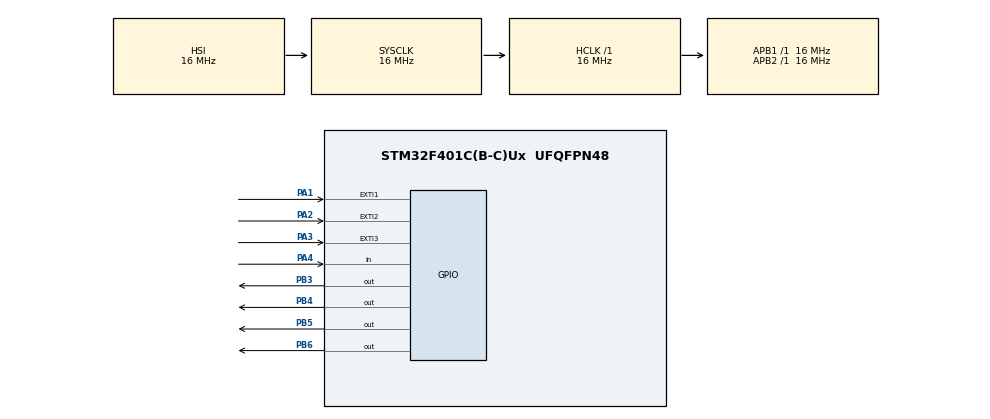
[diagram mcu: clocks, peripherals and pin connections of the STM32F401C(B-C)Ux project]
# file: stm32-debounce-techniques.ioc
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Mcu.Family=STM32F4
Mcu.Name=STM32F401C(B-C)Ux
Mcu.Package=UFQFPN48
NVIC.EXTI1_IRQn=true\:0\:0\:false\:false\:true\:true\:true\:true
NVIC.EXTI2_IRQn=true\:0\:0\:false\:false\:true\:true\:true\:true
NVIC.EXTI3_IRQn=true\:0\:0\:false\:false\:true\:true\:true\:true
NVIC.PriorityGroup=NVIC_PRIORITYGROUP_4
NVIC.TIM2_IRQn=true\:0\:0\:false\:false\:true\:true\:true\:true
PA1.GPIO_ModeDefaultEXTI=GPIO_MODE_IT_FALLING
PA1.GPIO_PuPd=GPIO_PULLDOWN
PA1.Signal=GPXTI1
PA13.Mode=Serial_Wire
PA13.Signal=SYS_JTMS-SWDIO
PA14.Mode=Serial_Wire
PA14.Signal=SYS_JTCK-SWCLK
PA2.GPIO_ModeDefaultEXTI=GPIO_MODE_IT_FALLING
PA2.GPIO_PuPd=GPIO_PULLDOWN
PA2.Signal=GPXTI2
PA3.GPIO_ModeDefaultEXTI=GPIO_MODE_IT_FALLING
PA3.GPIO_PuPd=GPIO_PULLDOWN
PA3.Signal=GPXTI3
PA4.GPIO_PuPd=GPIO_PULLDOWN
PA4.Signal=GPIO_Input
PB3.Signal=GPIO_Output
PB4.Signal=GPIO_Output
PB5.Signal=GPIO_Output
PB6.Signal=GPIO_Output
ProjectManager.HeapSize=0x200
ProjectManager.StackSize=0x400
ProjectManager.TargetToolchain=STM32CubeIDE
RCC.AHBFreq_Value=16000000
RCC.APB1Freq_Value=16000000
RCC.APB2Freq_Value=16000000
RCC.CortexFreq_Value=16000000
RCC.HSE_VALUE=25000000
RCC.HSI_VALUE=16000000
RCC.LSE_VALUE=32768
RCC.SYSCLKFreq_VALUE=16000000
RCC.VCOOutputFreq_Value=192000000
TIM2.Period=49
TIM2.Prescaler=15999
VP_TIM2_VS_ClockSourceINT.Mode=Internal
board=custom

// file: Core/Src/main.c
/* USER CODE BEGIN Header */
/**
  ******************************************************************************
  * @file           : main.c
  * @brief          : Main program body
  ******************************************************************************
  * @attention
  *
  * Copyright (c) 2026 STMicroelectronics.
  * All rights reserved.
  *
  * This software is licensed under terms that can be found in the LICENSE file
  * in the root directory of this software component.
  * If no LICENSE file comes with this software, it is provided AS-IS.
  *
  ******************************************************************************
  */
/* USER CODE END Header */
#include "main.h"
#include <stdbool.h>

TIM_HandleTypeDef htim2;

/* USER CODE BEGIN PV */

volatile bool shouldPin1Toggle = false;
volatile bool shouldPin2Toggle = false;
volatile bool shouldPin3Toggle = false;

typedef enum {
    BUTTON_RELEASED,
    BUTTON_DEBOUNCE_PRESS,
    BUTTON_PRESSED,
    BUTTON_DEBOUNCE_RELEASE
} ButtonState;

ButtonState button4State = BUTTON_RELEASED;

uint32_t button4LastPollMs = 0;
uint32_t button4DebounceStartedMs = 0;

const uint32_t BUTTON_POLL_INTERVAL_MS = 5;
const uint32_t BUTTON_DEBOUNCE_MS = 50;

/* USER CODE END PV */

void SystemClock_Config(void);
static void MX_GPIO_Init(void);
static void MX_TIM2_Init(void);

/* USER CODE BEGIN 0 */

void updateButton4State() {
	uint32_t now = HAL_GetTick();

	if (now - button4LastPollMs < BUTTON_POLL_INTERVAL_MS) {
        // ignore stuff between polling intervals
		return;
	}

	button4LastPollMs = now;

	GPIO_PinState pinState = HAL_GPIO_ReadPin(GPIOA, GPIO_PIN_4);

	switch (button4State) {
	case BUTTON_RELEASED:
		if (pinState == GPIO_PIN_SET) {
            // button was pressed, start paying attention to what happens next
			button4State = BUTTON_DEBOUNCE_PRESS;
			button4DebounceStartedMs = now;
		}
		break;

	case BUTTON_DEBOUNCE_PRESS:
		if (pinState == GPIO_PIN_RESET) {
			// button released too soon, treat it as bounce
			button4State = BUTTON_RELEASED;
		} else if (now - button4DebounceStartedMs >= BUTTON_DEBOUNCE_MS) {
			// button was pressed for 50ms, treat is at a real press
			button4State = BUTTON_PRESSED;
		}
		break;

	case BUTTON_PRESSED:
		if (pinState == GPIO_PIN_RESET) {
			// now that the button is pressed, check for debounced release
			button4State = BUTTON_DEBOUNCE_RELEASE;
			button4DebounceStartedMs = now;
		}
		break;

	case BUTTON_DEBOUNCE_RELEASE:
		if (pinState == GPIO_PIN_SET) {
			// went HIGH again before debounce completed, treat it as bounce
			button4State = BUTTON_PRESSED;
		} else if (now - button4DebounceStartedMs >= BUTTON_DEBOUNCE_MS) {
			// LOW remained stable for 50 ms, treat is at a real press
			button4State = BUTTON_RELEASED;
			HAL_GPIO_TogglePin(GPIOB, GPIO_PIN_6);
		}
		break;
	}
}

/* USER CODE END 0 */

int main(void)
{

  /* MCU Configuration--------------------------------------------------------*/

  /* Reset of all peripherals, Initializes the Flash interface and the Systick. */
  HAL_Init();

  /* Configure the system clock */
  SystemClock_Config();

  /* Initialize all configured peripherals */
  MX_GPIO_Init();
  MX_TIM2_Init();
  /* USER CODE BEGIN 2 */

  HAL_GPIO_WritePin(GPIOB, GPIO_PIN_3, GPIO_PIN_RESET);
  HAL_GPIO_WritePin(GPIOB, GPIO_PIN_4, GPIO_PIN_RESET);
  HAL_GPIO_WritePin(GPIOB, GPIO_PIN_5, GPIO_PIN_RESET);
  HAL_GPIO_WritePin(GPIOB, GPIO_PIN_6, GPIO_PIN_RESET);

  /* USER CODE END 2 */

  /* Infinite loop */
  /* USER CODE BEGIN WHILE */
  while (1)
  {
	if (shouldPin1Toggle) {
		HAL_GPIO_TogglePin(GPIOB, GPIO_PIN_3);
		shouldPin1Toggle = false;
	}
	if (shouldPin2Toggle) {
		HAL_GPIO_TogglePin(GPIOB, GPIO_PIN_4);
		shouldPin2Toggle = false;
	}
	if (shouldPin3Toggle && HAL_GPIO_ReadPin(GPIOA, GPIO_PIN_3) == GPIO_PIN_RESET) {
		HAL_GPIO_TogglePin(GPIOB, GPIO_PIN_5);
		shouldPin3Toggle = false;
	}
	updateButton4State();
    /* USER CODE END WHILE */

  }
}

void SystemClock_Config(void)
{
  RCC_OscInitTypeDef RCC_OscInitStruct = {0};
  RCC_ClkInitTypeDef RCC_ClkInitStruct = {0};

  /** Configure the main internal regulator output voltage
  */
  __HAL_RCC_PWR_CLK_ENABLE();
  __HAL_PWR_VOLTAGESCALING_CONFIG(PWR_REGULATOR_VOLTAGE_SCALE2);

  /** Initializes the RCC Oscillators according to the specified parameters
  * in the RCC_OscInitTypeDef structure.
  */
  RCC_OscInitStruct.OscillatorType = RCC_OSCILLATORTYPE_HSI;
  RCC_OscInitStruct.HSIState = RCC_HSI_ON;
  RCC_OscInitStruct.HSICalibrationValue = RCC_HSICALIBRATION_DEFAULT;
  RCC_OscInitStruct.PLL.PLLState = RCC_PLL_NONE;
  if (HAL_RCC_OscConfig(&RCC_OscInitStruct) != HAL_OK)
  {
    Error_Handler();
  }

  /** Initializes the CPU, AHB and APB buses clocks
  */
  RCC_ClkInitStruct.ClockType = RCC_CLOCKTYPE_HCLK|RCC_CLOCKTYPE_SYSCLK
                              |RCC_CLOCKTYPE_PCLK1|RCC_CLOCKTYPE_PCLK2;
  RCC_ClkInitStruct.SYSCLKSource = RCC_SYSCLKSOURCE_HSI;
  RCC_ClkInitStruct.AHBCLKDivider = RCC_SYSCLK_DIV1;
  RCC_ClkInitStruct.APB1CLKDivider = RCC_HCLK_DIV1;
  RCC_ClkInitStruct.APB2CLKDivider = RCC_HCLK_DIV1;

  if (HAL_RCC_ClockConfig(&RCC_ClkInitStruct, FLASH_LATENCY_0) != HAL_OK)
  {
    Error_Handler();
  }
}

static void MX_TIM2_Init(void)
{

  TIM_ClockConfigTypeDef sClockSourceConfig = {0};
  TIM_MasterConfigTypeDef sMasterConfig = {0};

  htim2.Instance = TIM2;
  htim2.Init.Prescaler = 15999;
  htim2.Init.CounterMode = TIM_COUNTERMODE_UP;
  htim2.Init.Period = 49;
  htim2.Init.ClockDivision = TIM_CLOCKDIVISION_DIV1;
  htim2.Init.AutoReloadPreload = TIM_AUTORELOAD_PRELOAD_DISABLE;
  if (HAL_TIM_Base_Init(&htim2) != HAL_OK)
  {
    Error_Handler();
  }
  sClockSourceConfig.ClockSource = TIM_CLOCKSOURCE_INTERNAL;
  if (HAL_TIM_ConfigClockSource(&htim2, &sClockSourceConfig) != HAL_OK)
  {
    Error_Handler();
  }
  sMasterConfig.MasterOutputTrigger = TIM_TRGO_RESET;
  sMasterConfig.MasterSlaveMode = TIM_MASTERSLAVEMODE_DISABLE;
  if (HAL_TIMEx_MasterConfigSynchronization(&htim2, &sMasterConfig) != HAL_OK)
  {
    Error_Handler();
  }

}

static void MX_GPIO_Init(void)
{
  GPIO_InitTypeDef GPIO_InitStruct = {0};

  /* GPIO Ports Clock Enable */
  __HAL_RCC_GPIOA_CLK_ENABLE();
  __HAL_RCC_GPIOB_CLK_ENABLE();

  /*Configure GPIO pin Output Level */
  HAL_GPIO_WritePin(GPIOB, GPIO_PIN_3|GPIO_PIN_4|GPIO_PIN_5|GPIO_PIN_6, GPIO_PIN_RESET);

  /*Configure GPIO pins : PA1 PA2 PA3 */
  GPIO_InitStruct.Pin = GPIO_PIN_1|GPIO_PIN_2|GPIO_PIN_3;
  GPIO_InitStruct.Mode = GPIO_MODE_IT_FALLING;
  GPIO_InitStruct.Pull = GPIO_PULLDOWN;
  HAL_GPIO_Init(GPIOA, &GPIO_InitStruct);

  /*Configure GPIO pin : PA4 */
  GPIO_InitStruct.Pin = GPIO_PIN_4;
  GPIO_InitStruct.Mode = GPIO_MODE_INPUT;
  GPIO_InitStruct.Pull = GPIO_PULLDOWN;
  HAL_GPIO_Init(GPIOA, &GPIO_InitStruct);

  /*Configure GPIO pins : PB3 PB4 PB5 PB6 */
  GPIO_InitStruct.Pin = GPIO_PIN_3|GPIO_PIN_4|GPIO_PIN_5|GPIO_PIN_6;
  GPIO_InitStruct.Mode = GPIO_MODE_OUTPUT_PP;
  GPIO_InitStruct.Pull = GPIO_NOPULL;
  GPIO_InitStruct.Speed = GPIO_SPEED_FREQ_LOW;
  HAL_GPIO_Init(GPIOB, &GPIO_InitStruct);

  /* EXTI interrupt init*/
  HAL_NVIC_SetPriority(EXTI1_IRQn, 0, 0);
  HAL_NVIC_EnableIRQ(EXTI1_IRQn);

  HAL_NVIC_SetPriority(EXTI2_IRQn, 0, 0);
  HAL_NVIC_EnableIRQ(EXTI2_IRQn);

  HAL_NVIC_SetPriority(EXTI3_IRQn, 0, 0);
  HAL_NVIC_EnableIRQ(EXTI3_IRQn);

}

/* USER CODE BEGIN 4 */

void HAL_GPIO_EXTI_Callback(uint16_t GPIO_Pin)
{
    if (GPIO_Pin == GPIO_PIN_1)
    {
    	shouldPin1Toggle = true;
    }
    if (GPIO_Pin == GPIO_PIN_2) {
    	HAL_NVIC_DisableIRQ(EXTI2_IRQn);
    	__HAL_TIM_SET_COUNTER(&htim2, 0);
    	HAL_TIM_Base_Start_IT(&htim2);
    }
    if (GPIO_Pin == GPIO_PIN_3) {
    	shouldPin3Toggle = true;
    }
}

void HAL_TIM_PeriodElapsedCallback(TIM_HandleTypeDef *htim)
{
  if (htim->Instance == TIM2) {

	 HAL_TIM_Base_Stop_IT(htim);
	 if( HAL_GPIO_ReadPin(GPIOA, GPIO_PIN_2) == GPIO_PIN_RESET){
		 shouldPin2Toggle = true;
	 }

	 HAL_NVIC_EnableIRQ(EXTI2_IRQn);

  }
}

/* USER CODE END 4 */

void Error_Handler(void)
{
  __disable_irq();
  while (1)
  {
  }
}
